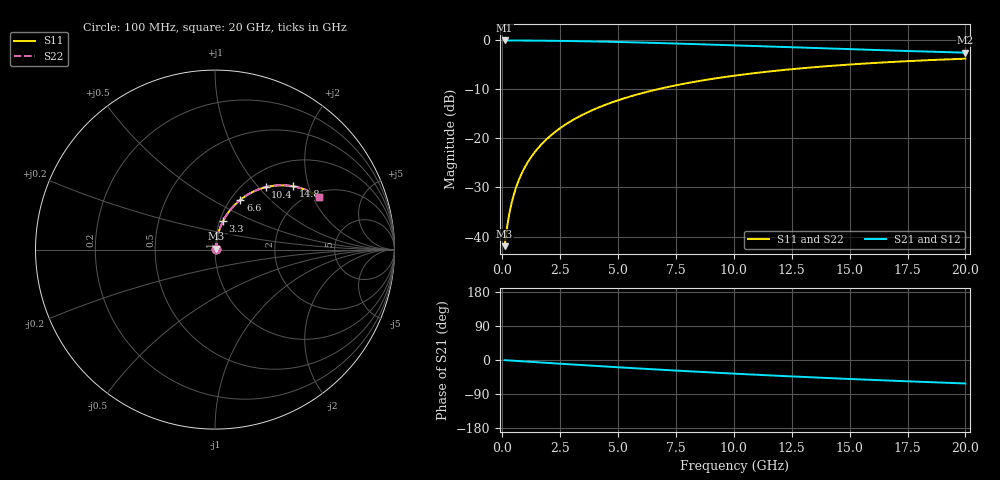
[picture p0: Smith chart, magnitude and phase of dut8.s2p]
! Touchstone file exported from HFSS 2026.1.0
!  File:  C:/ffzhzh/LocalFiles/Ansys_Project_Files/temp_val_BSMRDL_8_1782903161_13352.aedt
!  Generated:  06:54:14 PM Jul  1, 2026
!  Design:  BSMRDL
!  Project:  temp_val_BSMRDL_8_1782903161_13352
! Variables:
!  h_bsmrdl = 4.38um
!  h_ox = 20um
!  h_rdl = 5um
!  h_sub = 80um
!  h_tmrdl = 5um
!  h_tsv = 80um
!  h_via = 3um
!  l_bsmrdl = 894.69um
!  l_sub = 1294.69um
!  l_tmrdl = 200um
!  m_sub = 200um
!  pitch = 57.67um
!  r_tsv = 6um
!  s_tmrdl = 10um
!  w_bsmrdl = 12.07um
!  w_sub = 500um
!  w_tmrdl = 12um
!  x_tsv_center1 = 206um
!  x_tsv_center2 = 1112.76um
!  x_tsv_center3 = 1324.76um
!  x_tsv_center4 = 2231.52um
!  x_tsv_center5 = 2443.52um
!  x_tsv_center6 = 3350.28um
# GHz S MA R 50.000000
! Terminal data exported
! Port[1] = BSM_RDL1_1_T1
! Port[2] = BSM_RDL1_1_T2
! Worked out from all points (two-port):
!   200 points, 100 MHz to 20 GHz, reference 50 ohm
!   highest |S21| = -0.05 dB at 100 MHz (marker M1); lowest = -2.5 dB at 20 GHz (marker M2)
!   |S21| within 3 dB of the highest: start of sweep to end of sweep
!   lowest |S11| = -42.0 dB at 100 MHz (marker M3), VSWR 1.02, Z = 50.6 + j0.533 ohm
!   |S11| at or under -10 dB: start of sweep to 6.702 GHz
!   |S22| runs from -42.0 to -3.8 dB; largest |S21 - S12| = 1.4e-14
!   S11 on the Smith chart (normalised r, x): 100 MHz: 1.01, +0.01; 3.3 GHz: 1.04, +0.34; 6.6 GHz: 1.11, +0.68; 10.4 GHz: 1.26, +1.09; 14.8 GHz: 1.55, +1.60; 20 GHz: 2.21, +2.23
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0.1  0.007986 41.2  0.994 -0.4  0.994 -0.4  0.007986 41.2
! Gamma 0 0 0 0
! Port Impedance 50 0 50 0
0.2  0.01219 59.4  0.9939 -0.8  0.9939 -0.8  0.01219 59.4
0.3  0.01697 67.5  0.9937 -1.2  0.9937 -1.2  0.01697 67.5
0.4  0.02191 71.7  0.9935 -1.6  0.9935 -1.6  0.02191 71.7
0.5  0.0269 74.2  0.9933 -2.0  0.9933 -2.0  0.0269 74.2
0.7  0.03696 77.0  0.9928 -2.8  0.9928 -2.8  0.03696 77.0
1  0.05211 78.5  0.9919 -4.0  0.9919 -4.0  0.05211 78.5
1.4  0.07231 78.9  0.9904 -5.5  0.9904 -5.5  0.07231 78.9
1.9  0.09742 78.2  0.9879 -7.5  0.9879 -7.5  0.09742 78.2
2.5  0.1272 76.6  0.984 -9.8  0.984 -9.8  0.1272 76.6
3.3  0.1661 74.2  0.9776 -12.9  0.9776 -12.9  0.1661 74.2
3.5  0.1756 73.5  0.9757 -13.6  0.9757 -13.6  0.1756 73.5
4.9  0.24 68.7  0.9606 -18.8  0.9606 -18.8  0.24 68.7
6.6  0.3121 63.0  0.9383 -24.9  0.9383 -24.9  0.3121 63.0
6.8  0.3201 62.3  0.9355 -25.6  0.9355 -25.6  0.3201 62.3
8.3  0.377 57.4  0.9132 -30.6  0.9132 -30.6  0.377 57.4
10.1  0.4378 51.9  0.8851 -36.3  0.8851 -36.3  0.4378 51.9
10.4  0.4472 51.0  0.8803 -37.2  0.8803 -37.2  0.4471 51.0
13.4  0.5293 42.5  0.8336 -45.8  0.8336 -45.8  0.5293 42.6
14.8  0.561 38.9  0.8128 -49.6  0.8128 -49.6  0.561 39.0
16.7  0.5982 34.2  0.7865 -54.3  0.7865 -54.3  0.5981 34.3
20  0.6485 26.8  0.7466 -61.9  0.7466 -61.9  0.6485 26.9
